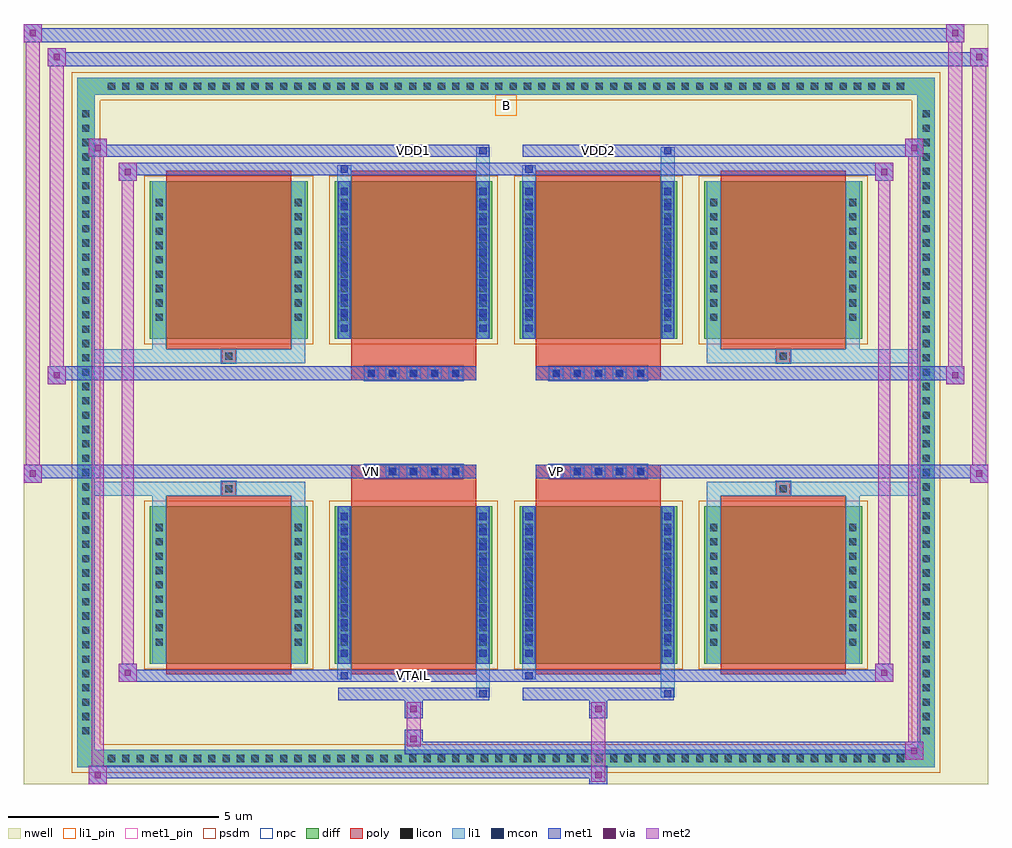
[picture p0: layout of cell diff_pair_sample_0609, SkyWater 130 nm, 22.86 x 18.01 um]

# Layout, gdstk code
import gdstk
lib = gdstk.Library(unit=1e-6, precision=5e-09)
def R(c, l, rs):  # rectangles x0, y0, x1, y1
    for r in rs: c.add(gdstk.rectangle(r[:2], r[2:], *l))
def A(c, l, x, y, w, h, nx, ny, dx, dy):  # array of equal rectangles
    R(c, l, [(x+i*dx, y+j*dy, x+i*dx+w, y+j*dy+h) for i in range(nx) for j in range(ny)])
def P(c, l, *ps):  # polygons
    for p in ps: c.add(gdstk.Polygon(p, *l))
nwell = (64, 20)
diff = (65, 20)
poly = (66, 20)
licon = (66, 44)
li1_pin = (67, 16)
li1 = (67, 20)
mcon = (67, 44)
met1_pin = (68, 16)
met1 = (68, 20)
via = (68, 44)
met2 = (69, 20)
psdm = (94, 20)
npc = (95, 20)

diff_pair_sample_0609 = lib.new_cell('diff_pair_sample_0609')
R(diff_pair_sample_0609, nwell, [(-11.43,-8.57,11.43,9.44), (-8.75,-6.76,-0.01,-0.8), (0.01,-6.76,8.75,-0.8), (-8.75,0.8,-0.01,6.76), (0.01,0.8,8.75,6.76)])
A(diff_pair_sample_0609, diff, -9.555, -8.17, 0.41, 0.41, 56, 2, 0.34, 15.93)
A(diff_pair_sample_0609, diff, -10.16, -7.515, 0.41, 0.41, 1, 44, 0, 0.34)
A(diff_pair_sample_0609, diff, 9.75, -7.515, 0.41, 0.41, 1, 44, 0, 0.34)
A(diff_pair_sample_0609, diff, -8.44, -5.715, 3.74, 3.73, 4, 2, 4.38, 7.7)
R(diff_pair_sample_0609, diff, [(-9.555,-8.17,9.555,-7.76), (-10.16,-7.515,-9.75,7.515), (9.75,-7.515,10.16,7.515), (-9.555,7.76,9.555,8.17)])
P(diff_pair_sample_0609, diff, [(10.16,8.17),(-10.16,8.17),(-10.16,-7.76),(-9.75,-7.76),(-9.75,7.76),(9.75,7.76),(9.75,-7.76),(-9.75,-7.76),(-10.16,-7.76),(-10.16,-8.17),(10.16,-8.17)])
A(diff_pair_sample_0609, poly, -8.05, -5.965, 2.96, 4.23, 4, 2, 4.38, 7.7)
A(diff_pair_sample_0609, poly, -3.355, -1.33, 0.33, 0.33, 5, 2, 0.5, 2.33)
A(diff_pair_sample_0609, poly, 1.025, -1.33, 0.33, 0.33, 5, 2, 0.5, 2.33)
R(diff_pair_sample_0609, poly, [(-6.735,-1.735,-6.405,-1.405), (-6.735,-1.735,-6.405,-1.405), (-3.67,-1.735,-0.71,-1.33), (0.71,-1.735,3.67,-1.33), (6.405,-1.735,6.735,-1.405), (6.405,-1.735,6.735,-1.405), (-3.67,-1.33,-0.71,-1), (0.71,-1.33,3.67,-1), (-3.67,1,-0.71,1.33), (0.71,1,3.67,1.33), (-3.67,1.33,-0.71,1.735), (0.71,1.33,3.67,1.735), (-6.735,1.405,-6.405,1.735), (-6.735,1.405,-6.405,1.735), (6.405,1.405,6.735,1.735), (6.405,1.405,6.735,1.735)])
A(diff_pair_sample_0609, licon, -9.435, -8.05, 0.17, 0.17, 56, 2, 0.34, 15.93)
A(diff_pair_sample_0609, licon, -10.04, -7.395, 0.17, 0.17, 1, 44, 0, 0.34)
A(diff_pair_sample_0609, licon, 9.87, -7.395, 0.17, 0.17, 1, 44, 0, 0.34)
A(diff_pair_sample_0609, licon, -8.3, -5.295, 0.17, 0.17, 1, 9, 0, 0.34)
A(diff_pair_sample_0609, licon, -5.01, -5.295, 0.17, 0.17, 1, 9, 0, 0.34)
A(diff_pair_sample_0609, licon, -3.92, -5.295, 0.17, 0.17, 1, 9, 0, 0.34)
A(diff_pair_sample_0609, licon, -0.63, -5.295, 0.17, 0.17, 1, 9, 0, 0.34)
A(diff_pair_sample_0609, licon, 0.46, -5.295, 0.17, 0.17, 1, 9, 0, 0.34)
A(diff_pair_sample_0609, licon, 3.75, -5.295, 0.17, 0.17, 1, 9, 0, 0.34)
A(diff_pair_sample_0609, licon, 4.84, -5.295, 0.17, 0.17, 1, 9, 0, 0.34)
A(diff_pair_sample_0609, licon, 8.13, -5.295, 0.17, 0.17, 1, 9, 0, 0.34)
A(diff_pair_sample_0609, licon, -3.275, -1.25, 0.17, 0.17, 5, 2, 0.5, 2.33)
A(diff_pair_sample_0609, licon, 1.105, -1.25, 0.17, 0.17, 5, 2, 0.5, 2.33)
A(diff_pair_sample_0609, licon, -8.3, 2.405, 0.17, 0.17, 1, 9, 0, 0.34)
A(diff_pair_sample_0609, licon, -5.01, 2.405, 0.17, 0.17, 1, 9, 0, 0.34)
A(diff_pair_sample_0609, licon, -3.92, 2.405, 0.17, 0.17, 1, 9, 0, 0.34)
A(diff_pair_sample_0609, licon, -0.63, 2.405, 0.17, 0.17, 1, 9, 0, 0.34)
A(diff_pair_sample_0609, licon, 0.46, 2.405, 0.17, 0.17, 1, 9, 0, 0.34)
A(diff_pair_sample_0609, licon, 3.75, 2.405, 0.17, 0.17, 1, 9, 0, 0.34)
A(diff_pair_sample_0609, licon, 4.84, 2.405, 0.17, 0.17, 1, 9, 0, 0.34)
A(diff_pair_sample_0609, licon, 8.13, 2.405, 0.17, 0.17, 1, 9, 0, 0.34)
R(diff_pair_sample_0609, licon, [(-6.655,-1.655,-6.485,-1.485), (6.485,-1.655,6.655,-1.485), (-6.655,1.485,-6.485,1.655), (6.485,1.485,6.655,1.655)])
R(diff_pair_sample_0609, li1_pin, [(-0.25,7.26,0.25,7.76)])
A(diff_pair_sample_0609, li1, -9.515, -8.13, 0.33, 0.33, 56, 2, 0.34, 15.93)
A(diff_pair_sample_0609, li1, -10.12, -7.475, 0.33, 0.33, 1, 44, 0, 0.34)
A(diff_pair_sample_0609, li1, 9.79, -7.475, 0.33, 0.33, 1, 44, 0, 0.34)
A(diff_pair_sample_0609, li1, -3.92, -5.555, 0.17, 0.17, 1, 10, 0, 0.36)
A(diff_pair_sample_0609, li1, -0.63, -5.555, 0.17, 0.17, 1, 10, 0, 0.36)
A(diff_pair_sample_0609, li1, 0.46, -5.555, 0.17, 0.17, 1, 10, 0, 0.36)
A(diff_pair_sample_0609, li1, 3.75, -5.555, 0.17, 0.17, 1, 10, 0, 0.36)
A(diff_pair_sample_0609, li1, -8.38, -5.375, 0.33, 0.33, 1, 9, 0, 0.34)
A(diff_pair_sample_0609, li1, -5.09, -5.375, 0.33, 0.33, 1, 9, 0, 0.34)
A(diff_pair_sample_0609, li1, -4, -5.375, 0.33, 0.33, 1, 9, 0, 0.34)
A(diff_pair_sample_0609, li1, -0.71, -5.375, 0.33, 0.33, 1, 9, 0, 0.34)
A(diff_pair_sample_0609, li1, 0.38, -5.375, 0.33, 0.33, 1, 9, 0, 0.34)
A(diff_pair_sample_0609, li1, 3.67, -5.375, 0.33, 0.33, 1, 9, 0, 0.34)
A(diff_pair_sample_0609, li1, 4.76, -5.375, 0.33, 0.33, 1, 9, 0, 0.34)
A(diff_pair_sample_0609, li1, 8.05, -5.375, 0.33, 0.33, 1, 9, 0, 0.34)
A(diff_pair_sample_0609, li1, -3.355, -1.33, 0.33, 0.33, 5, 2, 0.5, 2.33)
A(diff_pair_sample_0609, li1, 1.025, -1.33, 0.33, 0.33, 5, 2, 0.5, 2.33)
A(diff_pair_sample_0609, li1, -3.92, 2.145, 0.17, 0.17, 1, 10, 0, 0.36)
A(diff_pair_sample_0609, li1, -0.63, 2.145, 0.17, 0.17, 1, 10, 0, 0.36)
A(diff_pair_sample_0609, li1, 0.46, 2.145, 0.17, 0.17, 1, 10, 0, 0.36)
A(diff_pair_sample_0609, li1, 3.75, 2.145, 0.17, 0.17, 1, 10, 0, 0.36)
A(diff_pair_sample_0609, li1, -8.38, 2.325, 0.33, 0.33, 1, 9, 0, 0.34)
A(diff_pair_sample_0609, li1, -5.09, 2.325, 0.33, 0.33, 1, 9, 0, 0.34)
A(diff_pair_sample_0609, li1, -4, 2.325, 0.33, 0.33, 1, 9, 0, 0.34)
A(diff_pair_sample_0609, li1, -0.71, 2.325, 0.33, 0.33, 1, 9, 0, 0.34)
A(diff_pair_sample_0609, li1, 0.38, 2.325, 0.33, 0.33, 1, 9, 0, 0.34)
A(diff_pair_sample_0609, li1, 3.67, 2.325, 0.33, 0.33, 1, 9, 0, 0.34)
A(diff_pair_sample_0609, li1, 4.76, 2.325, 0.33, 0.33, 1, 9, 0, 0.34)
A(diff_pair_sample_0609, li1, 8.05, 2.325, 0.33, 0.33, 1, 9, 0, 0.34)
R(diff_pair_sample_0609, li1, [(-10.16,-8.17,-9.75,-7.76), (-10.16,-8.17,-9.75,-7.76), (-9.75,-8.17,9.75,-7.76), (9.75,-8.17,10.16,-7.76), (9.75,-8.17,10.16,-7.76), (-10.16,-7.76,-9.75,7.76), (9.75,-7.76,10.16,7.76), (-0.71,-6.52,-0.38,-5.715), (-0.63,-6.52,-0.46,-6.35), (3.67,-6.52,4,-5.715), (3.75,-6.52,3.92,-6.35), (-4,-6.09,-3.67,-5.715), (-3.92,-6.09,-3.75,-5.92), (0.38,-6.09,0.71,-5.715), (0.46,-6.09,0.63,-5.92), (-8.38,-5.715,-8.05,-1.985), (-5.09,-5.715,-4.76,-1.985), (-4,-5.715,-3.67,-1.985), (-0.71,-5.715,-0.38,-1.985), (0.38,-5.715,0.71,-1.985), (3.67,-5.715,4,-1.985), (4.76,-5.715,5.09,-1.985), (8.05,-5.715,8.38,-1.985), (-3.92,-5.555,-3.75,-2.145), (-0.63,-5.555,-0.46,-2.145), (0.46,-5.555,0.63,-2.145), (3.75,-5.555,3.92,-2.145), (-8.38,-1.985,-8.05,-1.405), (-5.09,-1.985,-4.76,-1.405), (4.76,-1.985,5.09,-1.405), (8.05,-1.985,8.38,-1.405), (-10.16,-1.735,-6.735,-1.405), (-8.38,-1.735,-6.735,-1.405), (-6.735,-1.735,-6.405,-1.405), (-6.405,-1.735,-4.76,-1.405), (4.76,-1.735,6.405,-1.405), (6.405,-1.735,6.735,-1.405), (6.405,-1.735,10.16,-1.405), (6.735,-1.735,8.38,-1.405), (-10.16,1.405,-6.735,1.735), (-8.38,1.405,-6.735,1.735), (-8.38,1.405,-8.05,1.985), (-6.735,1.405,-6.405,1.735), (-6.405,1.405,-4.76,1.735), (-5.09,1.405,-4.76,1.985), (4.76,1.405,6.405,1.735), (4.76,1.405,5.09,1.985), (6.405,1.405,6.735,1.735), (6.405,1.405,10.16,1.735), (6.735,1.405,8.38,1.735), (8.05,1.405,8.38,1.985), (-8.38,1.985,-8.05,5.715), (-5.09,1.985,-4.76,5.715), (-4,1.985,-3.67,5.715), (-0.71,1.985,-0.38,5.715), (0.38,1.985,0.71,5.715), (3.67,1.985,4,5.715), (4.76,1.985,5.09,5.715), (8.05,1.985,8.38,5.715), (-3.92,2.145,-3.75,5.555), (-0.63,2.145,-0.46,5.555), (0.46,2.145,0.63,5.555), (3.75,2.145,3.92,5.555), (-4,5.715,-3.67,6.09), (-0.71,5.715,-0.38,6.52), (0.38,5.715,0.71,6.09), (3.67,5.715,4,6.52), (-3.92,5.92,-3.75,6.09), (0.46,5.92,0.63,6.09), (-0.63,6.35,-0.46,6.52), (3.75,6.35,3.92,6.52), (-10.16,7.76,-9.75,8.17), (-10.16,7.76,-9.75,8.17), (-9.75,7.76,9.75,8.17), (9.75,7.76,10.16,8.17), (9.75,7.76,10.16,8.17)])
A(diff_pair_sample_0609, mcon, -3.92, -5.555, 0.17, 0.17, 1, 10, 0, 0.36)
A(diff_pair_sample_0609, mcon, -0.63, -5.555, 0.17, 0.17, 1, 10, 0, 0.36)
A(diff_pair_sample_0609, mcon, 0.46, -5.555, 0.17, 0.17, 1, 10, 0, 0.36)
A(diff_pair_sample_0609, mcon, 3.75, -5.555, 0.17, 0.17, 1, 10, 0, 0.36)
A(diff_pair_sample_0609, mcon, -3.275, -1.25, 0.17, 0.17, 5, 2, 0.5, 2.33)
A(diff_pair_sample_0609, mcon, 1.105, -1.25, 0.17, 0.17, 5, 2, 0.5, 2.33)
A(diff_pair_sample_0609, mcon, -3.92, 2.145, 0.17, 0.17, 1, 10, 0, 0.36)
A(diff_pair_sample_0609, mcon, -0.63, 2.145, 0.17, 0.17, 1, 10, 0, 0.36)
A(diff_pair_sample_0609, mcon, 0.46, 2.145, 0.17, 0.17, 1, 10, 0, 0.36)
A(diff_pair_sample_0609, mcon, 3.75, 2.145, 0.17, 0.17, 1, 10, 0, 0.36)
R(diff_pair_sample_0609, mcon, [(-0.63,-6.52,-0.46,-6.35), (3.75,-6.52,3.92,-6.35), (-3.92,-6.09,-3.75,-5.92), (0.46,-6.09,0.63,-5.92), (-3.92,5.92,-3.75,6.09), (0.46,5.92,0.63,6.09), (-0.63,6.35,-0.46,6.52), (3.75,6.35,3.92,6.52)])
R(diff_pair_sample_0609, met1_pin, [(-2.325,-6.13,-2.055,-5.86), (-3.325,-1.29,-3.055,-1.02), (1.055,-1.29,1.325,-1.02), (-2.325,6.31,-2.055,6.58), (2.055,6.31,2.325,6.58)])
A(diff_pair_sample_0609, met1, -3.98, -5.615, 0.29, 0.29, 1, 10, 0, 0.36)
A(diff_pair_sample_0609, met1, -0.69, -5.615, 0.29, 0.29, 1, 10, 0, 0.36)
A(diff_pair_sample_0609, met1, 0.4, -5.615, 0.29, 0.29, 1, 10, 0, 0.36)
A(diff_pair_sample_0609, met1, 3.69, -5.615, 0.29, 0.29, 1, 10, 0, 0.36)
A(diff_pair_sample_0609, met1, -3.335, -1.31, 0.29, 0.29, 5, 2, 0.5, 2.33)
A(diff_pair_sample_0609, met1, 1.045, -1.31, 0.29, 0.29, 5, 2, 0.5, 2.33)
A(diff_pair_sample_0609, met1, -3.98, 2.085, 0.29, 0.29, 1, 10, 0, 0.36)
A(diff_pair_sample_0609, met1, -0.69, 2.085, 0.29, 0.29, 1, 10, 0, 0.36)
A(diff_pair_sample_0609, met1, 0.4, 2.085, 0.29, 0.29, 1, 10, 0, 0.36)
A(diff_pair_sample_0609, met1, 3.69, 2.085, 0.29, 0.29, 1, 10, 0, 0.36)
R(diff_pair_sample_0609, met1, [(-9.89,-8.57,-9.46,-8.14), (1.975,-8.57,2.405,-8.14), (-9.89,-8.43,2.405,-8.14), (9.46,-8,9.89,-7.57), (-2.405,-7.86,9.89,-7.57), (-2.405,-7.72,-1.975,-7.29), (-2.405,-7.01,-1.975,-6.58), (1.975,-7.01,2.405,-6.58), (-3.98,-6.58,-0.4,-6.29), (-0.69,-6.58,-0.4,-6.29), (0.4,-6.58,3.98,-6.29), (3.69,-6.58,3.98,-6.29), (-9.18,-6.15,-8.75,-5.72), (-9.18,-6.15,-3.98,-5.86), (-3.98,-6.15,-3.69,-5.86), (-3.98,-6.15,-0.4,-5.86), (-0.4,-6.15,0.4,-5.86), (0.4,-6.15,0.69,-5.86), (0.4,-6.15,3.98,-5.86), (3.98,-6.15,9.18,-5.86), (8.75,-6.15,9.18,-5.72), (-3.98,-5.715,-3.69,-1.985), (-0.69,-5.715,-0.4,-1.985), (0.4,-5.715,0.69,-1.985), (3.69,-5.715,3.98,-1.985), (-11.43,-1.43,-11,-1), (11,-1.43,11.43,-1), (-11.43,-1.33,-0.71,-1), (-3.67,-1.33,-0.71,-1), (0.71,-1.33,3.67,-1), (0.71,-1.33,11.43,-1), (-10.86,0.9,-10.43,1.33), (10.43,0.9,10.86,1.33), (-10.86,1,-3.67,1.33), (-3.67,1,-0.71,1.33), (0.71,1,3.67,1.33), (3.67,1,10.86,1.33), (-3.98,1.985,-3.69,5.715), (-0.69,1.985,-0.4,5.715), (0.4,1.985,0.69,5.715), (3.69,1.985,3.98,5.715), (-9.18,5.72,-8.75,6.15), (8.75,5.72,9.18,6.15), (-9.18,5.86,-3.98,6.15), (-3.98,5.86,-3.69,6.15), (-3.98,5.86,-0.4,6.15), (-0.4,5.86,0.4,6.15), (0.4,5.86,0.69,6.15), (0.4,5.86,3.98,6.15), (3.98,5.86,9.18,6.15), (-9.89,6.29,-9.46,6.72), (-9.89,6.29,-3.98,6.58), (-3.98,6.29,-0.4,6.58), (-0.69,6.29,-0.4,6.58), (0.4,6.29,3.98,6.58), (3.69,6.29,3.98,6.58), (3.98,6.29,9.89,6.58), (9.46,6.29,9.89,6.72), (-10.86,8.44,-10.43,8.87), (-10.86,8.44,-8.75,8.77), (-8.75,8.44,8.75,8.77), (8.75,8.44,11.43,8.77), (11,8.44,11.43,8.87), (-11.43,9.01,-11,9.44), (-11.43,9.01,-8.75,9.34), (-8.75,9.01,8.75,9.34), (8.75,9.01,10.86,9.34), (10.43,9.01,10.86,9.44)])
R(diff_pair_sample_0609, via, [(-9.75,-8.43,-9.6,-8.28), (2.115,-8.43,2.265,-8.28), (9.6,-7.86,9.75,-7.71), (-2.265,-7.58,-2.115,-7.43), (-2.265,-6.87,-2.115,-6.72), (2.115,-6.87,2.265,-6.72), (-9.04,-6.01,-8.89,-5.86), (8.89,-6.01,9.04,-5.86), (-11.29,-1.29,-11.14,-1.14), (11.14,-1.29,11.29,-1.14), (-10.72,1.04,-10.57,1.19), (10.57,1.04,10.72,1.19), (-9.04,5.86,-8.89,6.01), (8.89,5.86,9.04,6.01), (-9.75,6.43,-9.6,6.58), (9.6,6.43,9.75,6.58), (-10.72,8.58,-10.57,8.73), (11.14,8.58,11.29,8.73), (-11.29,9.15,-11.14,9.3), (10.57,9.15,10.72,9.3)])
R(diff_pair_sample_0609, met2, [(-9.89,-8.57,-9.46,-8.14), (-9.82,-8.57,-9.53,6.72), (-9.53,-8.57,-9.46,-8.14), (-9.84,-8.52,-9.51,-8.19), (2.025,-8.52,2.355,-8.19), (2.025,-8.19,2.355,-6.96), (9.46,-8,9.89,-7.57), (9.53,-8,9.82,6.72), (9.82,-8,9.89,-7.57), (9.51,-7.95,9.84,-7.62), (-2.355,-7.67,-2.025,-7.34), (-2.355,-7.34,-2.025,-6.96), (-2.355,-6.96,-2.025,-6.63), (2.025,-6.96,2.355,-6.63), (-9.18,-6.15,-8.75,-5.72), (-9.11,-6.15,-8.82,6.15), (-8.82,-6.15,-8.75,-5.72), (8.75,-6.15,9.18,-5.72), (8.82,-6.15,9.11,6.15), (9.11,-6.15,9.18,-5.72), (-9.13,-6.1,-8.8,-5.77), (8.8,-6.1,9.13,-5.77), (-11.43,-1.43,-11,-1), (-11.38,-1.43,-11.05,9.44), (-11.05,-1.43,-11,-1), (11,-1.43,11.43,-1), (11.05,-1.43,11.38,8.87), (11.38,-1.43,11.43,-1), (-11.38,-1.38,-11.05,-1.05), (11.05,-1.38,11.38,-1.05), (-10.86,0.9,-10.43,1.33), (-10.81,0.9,-10.48,8.87), (-10.48,0.9,-10.43,1.33), (10.43,0.9,10.86,1.33), (10.48,0.9,10.81,9.44), (10.81,0.9,10.86,1.33), (-10.81,0.95,-10.48,1.28), (10.48,0.95,10.81,1.28), (-9.18,5.72,-8.75,6.15), (-8.82,5.72,-8.75,6.15), (8.75,5.72,9.18,6.15), (9.11,5.72,9.18,6.15), (-9.13,5.77,-8.8,6.1), (8.8,5.77,9.13,6.1), (-9.89,6.29,-9.46,6.72), (-9.53,6.29,-9.46,6.72), (9.46,6.29,9.89,6.72), (9.82,6.29,9.89,6.72), (-9.84,6.34,-9.51,6.67), (9.51,6.34,9.84,6.67), (-10.86,8.44,-10.43,8.87), (-10.48,8.44,-10.43,8.87), (11,8.44,11.43,8.87), (11.38,8.44,11.43,8.87), (-10.81,8.49,-10.48,8.82), (11.05,8.49,11.38,8.82), (-11.43,9.01,-11,9.44), (-11.05,9.01,-11,9.44), (10.43,9.01,10.86,9.44), (10.81,9.01,10.86,9.44), (-11.38,9.06,-11.05,9.39), (10.48,9.06,10.81,9.39)])
A(diff_pair_sample_0609, psdm, -8.57, -5.845, 4, 3.99, 4, 2, 4.38, 7.7)
P(diff_pair_sample_0609, psdm, [(10.29,8.3),(-10.29,8.3),(-10.29,-7.63),(-9.62,-7.63),(-9.62,7.63),(9.62,7.63),(9.62,-7.63),(-9.62,-7.63),(-10.29,-7.63),(-10.29,-8.3),(10.29,-8.3)])
A(diff_pair_sample_0609, npc, -3.375, -1.35, 0.37, 0.37, 5, 2, 0.5, 2.33)
A(diff_pair_sample_0609, npc, 1.005, -1.35, 0.37, 0.37, 5, 2, 0.5, 2.33)
R(diff_pair_sample_0609, npc, [(-6.755,-1.755,-6.385,-1.385), (6.385,-1.755,6.755,-1.385), (-3.375,-1.35,-2.505,-0.98), (-3.375,-1.35,-2.505,-0.98), (-2.875,-1.35,-2.005,-0.98), (-2.875,-1.35,-2.005,-0.98), (-2.375,-1.35,-1.505,-0.98), (-2.375,-1.35,-1.505,-0.98), (-1.875,-1.35,-1.005,-0.98), (-1.875,-1.35,-1.005,-0.98), (1.005,-1.35,1.875,-0.98), (1.005,-1.35,1.875,-0.98), (1.505,-1.35,2.375,-0.98), (1.505,-1.35,2.375,-0.98), (2.005,-1.35,2.875,-0.98), (2.005,-1.35,2.875,-0.98), (2.505,-1.35,3.375,-0.98), (2.505,-1.35,3.375,-0.98), (-3.375,0.98,-2.505,1.35), (-3.375,0.98,-2.505,1.35), (-2.875,0.98,-2.005,1.35), (-2.875,0.98,-2.005,1.35), (-2.375,0.98,-1.505,1.35), (-2.375,0.98,-1.505,1.35), (-1.875,0.98,-1.005,1.35), (-1.875,0.98,-1.005,1.35), (1.005,0.98,1.875,1.35), (1.005,0.98,1.875,1.35), (1.505,0.98,2.375,1.35), (1.505,0.98,2.375,1.35), (2.005,0.98,2.875,1.35), (2.005,0.98,2.875,1.35), (2.505,0.98,3.375,1.35), (2.505,0.98,3.375,1.35), (-6.755,1.385,-6.385,1.755), (6.385,1.385,6.755,1.755)])
diff_pair_sample_0609.add(gdstk.Label('VTAIL', (-2.19,-5.995), layer=68, texttype=5))
diff_pair_sample_0609.add(gdstk.Label('VN', (-3.19,-1.155), layer=68, texttype=5))
diff_pair_sample_0609.add(gdstk.Label('VP', (1.19,-1.155), layer=68, texttype=5))
diff_pair_sample_0609.add(gdstk.Label('B', (0,7.51), layer=67, texttype=5))
diff_pair_sample_0609.add(gdstk.Label('VDD2', (2.19,6.445), layer=68, texttype=5))
diff_pair_sample_0609.add(gdstk.Label('VDD1', (-2.19,6.445), layer=68, texttype=5))

lib.write_gds('diff_pair_sample_0609.gds')
